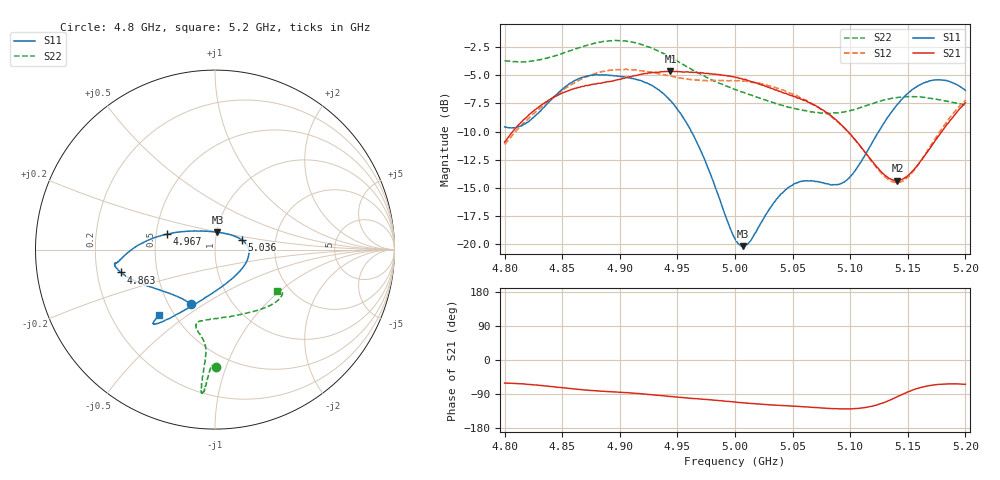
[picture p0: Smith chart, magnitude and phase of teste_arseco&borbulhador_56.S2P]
! Network Analyzer HP8722D
! Hewlett-Packard
! Data name: Linha & Wilkinson
! Saver's name: Rodrigo Anjos
! Comments: Teste da utilização de aquisição
! continua pelo VNA HP8722D
! Time and date: 15/4/2025 16:06
!  Frequency  S11  S21  S12  S22
# HZ  S  MA R 50
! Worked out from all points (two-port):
!   401 points, 4.8 GHz to 5.2 GHz, reference 50 ohm
!   highest |S21| = -4.63 dB at 4.944 GHz (marker M1); lowest = -14.4 dB at 5.141 GHz (marker M2)
!   |S21| within 3 dB of the highest: 4.832 GHz to 5.068 GHz (235.9 MHz wide, 4.77 % of centre); 5.198294 GHz to end of sweep
!   lowest |S11| = -20.2 dB at 5.007 GHz (marker M3), VSWR 1.22, Z = 50.4 + j9.83 ohm
!   |S11| at or under -10 dB: 4.962 GHz to 5.125 GHz (162.7 MHz wide, 3.23 % of centre)
!   |S22| runs from -8.4 to -1.9 dB; largest |S21 - S12| = 0.88
!   S11 on the Smith chart (normalised r, x): 4.8 GHz: 0.64, -0.44; 4.863 GHz: 0.30, -0.11; 4.967 GHz: 0.57, +0.11; 5.036 GHz: 1.34, +0.15; 5.2 GHz: 0.41, -0.39
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4.8e9  0.3318 -114.1  0.2838 -61.0  0.2773 -175.3  0.6538 -89.6
4.819e9  0.3455 -133.9  0.3657 -63.8  0.354 -173.5  0.6487 -91.1
4.84e9  0.4354 -153.0  0.4409 -69.8  0.4402 -173.8  0.6778 -92.6
4.863e9  0.5389 -166.4  0.4949 -77.3  0.5315 -176.9  0.7413 -93.6
4.867e9  0.55 -167.8  0.501 -78.5  0.543 -177.5  0.7547 -93.7
4.903e9  0.5546 -172.4  0.5455 -85.6  0.5971 175.2  0.8004 -95.4
4.934e9  0.4846 -178.2  0.581 -93.4  0.572 171.8  0.7185 -95.6
4.944e9  0.4344 177.2  0.5871 -96.2  0.5575 172.0  0.6784 -95.4
4.967e9  0.2823 162.3  0.5782 -102.2  0.5359 173.9  0.5809 -95.0
5e9  0.1054 106.0  0.5527 -111.0  0.5331 176.4  0.4866 -99.2
5.007e9  0.09757 82.1  0.5405 -112.9  0.5301 176.3  0.4726 -101.0
5.013e9  0.1026 62.9  0.5304 -114.6  0.5253 176.1  0.4604 -102.2
5.036e9  0.1582 20.7  0.4842 -119.2  0.4941 175.0  0.4203 -103.8
5.051e9  0.185 5.4  0.4522 -121.7  0.4613 174.2  0.4014 -99.8
5.067e9  0.1907 -12.0  0.4187 -124.8  0.4208 173.8  0.3871 -91.7
5.085e9  0.1835 -40.4  0.3649 -128.5  0.3643 173.6  0.3805 -78.5
5.097e9  0.1921 -65.5  0.3196 -129.3  0.3194 174.2  0.3888 -68.4
5.134e9  0.3742 -116.5  0.1952 -106.5  0.1917 -159.5  0.4422 -43.4
5.141e9  0.4183 -120.4  0.191 -96.8  0.1877 -148.4  0.4483 -40.3
5.153e9  0.4819 -125.2  0.2078 -80.7  0.2051 -129.8  0.4523 -36.0
5.17e9  0.5327 -128.9  0.2695 -66.9  0.2744 -113.0  0.4446 -32.1
5.2e9  0.4816 -130.6  0.425 -64.2  0.4355 -106.2  0.4155 -33.5
